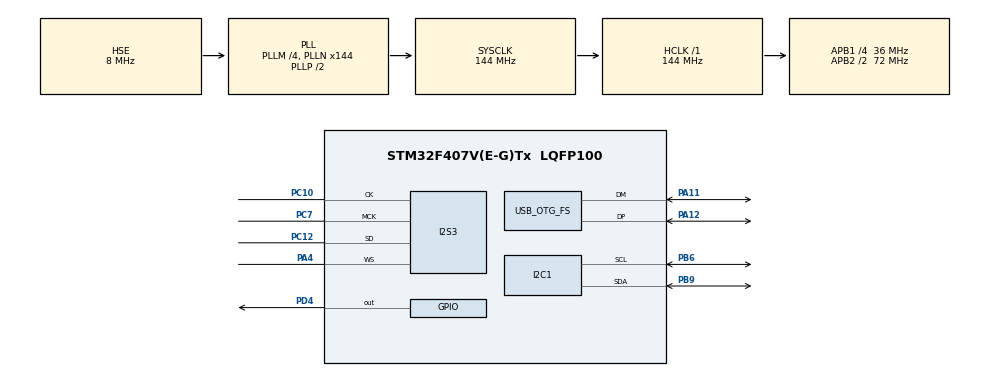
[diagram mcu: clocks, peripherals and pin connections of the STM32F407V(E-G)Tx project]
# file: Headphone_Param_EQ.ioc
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Dma.Request0=SPI3_TX
Dma.SPI3_TX.0.Direction=DMA_MEMORY_TO_PERIPH
Dma.SPI3_TX.0.FIFOMode=DMA_FIFOMODE_ENABLE
Dma.SPI3_TX.0.FIFOThreshold=DMA_FIFO_THRESHOLD_FULL
Dma.SPI3_TX.0.Instance=DMA1_Stream5
Dma.SPI3_TX.0.MemBurst=DMA_MBURST_SINGLE
Dma.SPI3_TX.0.MemDataAlignment=DMA_MDATAALIGN_HALFWORD
Dma.SPI3_TX.0.MemInc=DMA_MINC_ENABLE
Dma.SPI3_TX.0.Mode=DMA_CIRCULAR
Dma.SPI3_TX.0.PeriphBurst=DMA_PBURST_SINGLE
Dma.SPI3_TX.0.PeriphDataAlignment=DMA_PDATAALIGN_HALFWORD
Dma.SPI3_TX.0.PeriphInc=DMA_PINC_DISABLE
Dma.SPI3_TX.0.Priority=DMA_PRIORITY_LOW
I2S3.AudioFreq=I2S_AUDIOFREQ_48K
I2S3.ErrorAudioFreq=-0.01 %
I2S3.FullDuplexMode=I2S_FULLDUPLEXMODE_DISABLE
I2S3.Instance=SPI$Index
I2S3.RealAudioFreq=47.991 KHz
I2S3.Standard=I2S_STANDARD_PHILIPS
I2S3.VirtualMode=I2S_MODE_MASTER
Mcu.Family=STM32F4
Mcu.Name=STM32F407V(E-G)Tx
Mcu.Package=LQFP100
NVIC.DMA1_Stream5_IRQn=true\:0\:0\:false\:false\:true\:false\:true\:true
NVIC.OTG_FS_IRQn=true\:0\:0\:false\:false\:true\:false\:true\:true
NVIC.PriorityGroup=NVIC_PRIORITYGROUP_4
NVIC.SPI3_IRQn=true\:0\:0\:false\:false\:true\:true\:true\:true
PA11.Mode=Device_Only
PA11.Signal=USB_OTG_FS_DM
PA12.Mode=Device_Only
PA12.Signal=USB_OTG_FS_DP
PA4.Mode=Half_Duplex_Master
PA4.Signal=I2S3_WS
PB6.Mode=I2C
PB6.Signal=I2C1_SCL
PB9.Mode=I2C
PB9.Signal=I2C1_SDA
PC10.Mode=Half_Duplex_Master
PC10.Signal=I2S3_CK
PC12.Mode=Half_Duplex_Master
PC12.Signal=I2S3_SD
PC7.Mode=Master_Clock_Activated
PC7.Signal=I2S3_MCK
PD4.Signal=GPIO_Output
PH0-OSC_IN.Mode=HSE-External-Oscillator
PH0-OSC_IN.Signal=RCC_OSC_IN
PH1-OSC_OUT.Mode=HSE-External-Oscillator
PH1-OSC_OUT.Signal=RCC_OSC_OUT
ProjectManager.HeapSize=0x200
ProjectManager.StackSize=0x400
ProjectManager.TargetToolchain=STM32CubeIDE
RCC.48MHZClocksFreq_Value=48000000
RCC.AHBFreq_Value=144000000
RCC.APB1CLKDivider=RCC_HCLK_DIV4
RCC.APB1Freq_Value=36000000
RCC.APB1TimFreq_Value=72000000
RCC.APB2CLKDivider=RCC_HCLK_DIV2
RCC.APB2Freq_Value=72000000
RCC.APB2TimFreq_Value=144000000
RCC.CortexFreq_Value=144000000
RCC.HCLKFreq_Value=144000000
RCC.HSE_VALUE=8000000
RCC.HSI_VALUE=16000000
RCC.LSE_VALUE=32768
RCC.PLLI2SN=129
RCC.PLLI2SR=3
RCC.PLLM=4
RCC.PLLN=144
RCC.PLLQ=6
RCC.SYSCLKFreq_VALUE=144000000
RCC.SYSCLKSource=RCC_SYSCLKSOURCE_PLLCLK
RCC.VCOOutputFreq_Value=288000000
TIM4.Period=1999
USB_DEVICE.CLASS_NAME_FS=AUDIO
USB_DEVICE.USBD_AUDIO_FREQ-AUDIO_FS=48000
USB_DEVICE.VirtualMode-AUDIO_FS=Audio
USB_DEVICE.VirtualModeFS=Audio_FS
USB_OTG_FS.VirtualMode=Device_Only
VP_TIM4_VS_ClockSourceINT.Mode=Internal
VP_USB_DEVICE_VS_USB_DEVICE_AUDIO_FS.Mode=AUDIO_FS
board=custom

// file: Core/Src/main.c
/* USER CODE BEGIN Header */
/**
  ******************************************************************************
  * @file           : main.c
  * @brief          : Main program body
  ******************************************************************************
  * @attention
  *
  * Copyright (c) 2026 STMicroelectronics.
  * All rights reserved.
  *
  * This software is licensed under terms that can be found in the LICENSE file
  * in the root directory of this software component.
  * If no LICENSE file comes with this software, it is provided AS-IS.
  *
  ******************************************************************************
  */
/* USER CODE END Header */
#include "main.h"
#include "usb_device.h"

/* USER CODE BEGIN Includes */
#include "cs43l22.h"
#include "usbd_audio_if.h"
#include <math.h>

/* USER CODE END Includes */

I2C_HandleTypeDef hi2c1;

I2S_HandleTypeDef hi2s3;
DMA_HandleTypeDef hdma_spi3_tx;

TIM_HandleTypeDef htim4;

/* USER CODE BEGIN PV */
#define CODEC_ADDR      0x94      /* CS43L22 8-bit I2C address */
#define FRAMES          384       /* 8 cycles of 1 kHz at 48 kHz */
static int16_t audioBuf[FRAMES * 2] __attribute__((aligned(4)));  /* L,R interleaved */

/* USER CODE END PV */

void SystemClock_Config(void);
static void MX_GPIO_Init(void);
static void MX_DMA_Init(void);
static void MX_I2S3_Init(void);
static void MX_I2C1_Init(void);
static void MX_TIM4_Init(void);

int main(void)
{

  /* MCU Configuration--------------------------------------------------------*/

  /* Reset of all peripherals, Initializes the Flash interface and the Systick. */
  HAL_Init();

  /* Configure the system clock */
  SystemClock_Config();

  /* Initialize all configured peripherals */
  MX_GPIO_Init();
  MX_DMA_Init();
  MX_I2S3_Init();
  MX_I2C1_Init();
  MX_TIM4_Init();
  MX_USB_DEVICE_Init();

  /* USER CODE BEGIN 2 */
  for (int i = 0; i < FRAMES; i++) {
      int16_t s = (int16_t)(8000.0f * sinf(2.0f * 3.14159265f * i / 48.0f));
      audioBuf[2*i]     = s;   /* left */
      audioBuf[2*i + 1] = s;   /* right */
  }

  uint32_t id = cs43l22_ReadID(CODEC_ADDR);     /* expect 0xE0 */
  cs43l22_Init(CODEC_ADDR, OUTPUT_DEVICE_HEADPHONE, 60, 48000);
  cs43l22_Play(CODEC_ADDR, NULL, 0);

  /* USER CODE END 2 */

  /* Infinite loop */
  while (1)
  {

  }
}

void SystemClock_Config(void)
{
  RCC_OscInitTypeDef RCC_OscInitStruct = {0};
  RCC_ClkInitTypeDef RCC_ClkInitStruct = {0};

  /** Configure the main internal regulator output voltage
  */
  __HAL_RCC_PWR_CLK_ENABLE();
  __HAL_PWR_VOLTAGESCALING_CONFIG(PWR_REGULATOR_VOLTAGE_SCALE1);

  /** Initializes the RCC Oscillators according to the specified parameters
  * in the RCC_OscInitTypeDef structure.
  */
  RCC_OscInitStruct.OscillatorType = RCC_OSCILLATORTYPE_HSE;
  RCC_OscInitStruct.HSEState = RCC_HSE_ON;
  RCC_OscInitStruct.PLL.PLLState = RCC_PLL_ON;
  RCC_OscInitStruct.PLL.PLLSource = RCC_PLLSOURCE_HSE;
  RCC_OscInitStruct.PLL.PLLM = 4;
  RCC_OscInitStruct.PLL.PLLN = 144;
  RCC_OscInitStruct.PLL.PLLP = RCC_PLLP_DIV2;
  RCC_OscInitStruct.PLL.PLLQ = 6;
  if (HAL_RCC_OscConfig(&RCC_OscInitStruct) != HAL_OK)
  {
    Error_Handler();
  }

  /** Initializes the CPU, AHB and APB buses clocks
  */
  RCC_ClkInitStruct.ClockType = RCC_CLOCKTYPE_HCLK|RCC_CLOCKTYPE_SYSCLK
                              |RCC_CLOCKTYPE_PCLK1|RCC_CLOCKTYPE_PCLK2;
  RCC_ClkInitStruct.SYSCLKSource = RCC_SYSCLKSOURCE_PLLCLK;
  RCC_ClkInitStruct.AHBCLKDivider = RCC_SYSCLK_DIV1;
  RCC_ClkInitStruct.APB1CLKDivider = RCC_HCLK_DIV4;
  RCC_ClkInitStruct.APB2CLKDivider = RCC_HCLK_DIV2;

  if (HAL_RCC_ClockConfig(&RCC_ClkInitStruct, FLASH_LATENCY_4) != HAL_OK)
  {
    Error_Handler();
  }
}

static void MX_I2C1_Init(void)
{

  hi2c1.Instance = I2C1;
  hi2c1.Init.ClockSpeed = 100000;
  hi2c1.Init.DutyCycle = I2C_DUTYCYCLE_2;
  hi2c1.Init.OwnAddress1 = 0;
  hi2c1.Init.AddressingMode = I2C_ADDRESSINGMODE_7BIT;
  hi2c1.Init.DualAddressMode = I2C_DUALADDRESS_DISABLE;
  hi2c1.Init.OwnAddress2 = 0;
  hi2c1.Init.GeneralCallMode = I2C_GENERALCALL_DISABLE;
  hi2c1.Init.NoStretchMode = I2C_NOSTRETCH_DISABLE;
  if (HAL_I2C_Init(&hi2c1) != HAL_OK)
  {
    Error_Handler();
  }

}

static void MX_I2S3_Init(void)
{

  hi2s3.Instance = SPI3;
  hi2s3.Init.Mode = I2S_MODE_MASTER_TX;
  hi2s3.Init.Standard = I2S_STANDARD_PHILIPS;
  hi2s3.Init.DataFormat = I2S_DATAFORMAT_16B;
  hi2s3.Init.MCLKOutput = I2S_MCLKOUTPUT_ENABLE;
  hi2s3.Init.AudioFreq = I2S_AUDIOFREQ_48K;
  hi2s3.Init.CPOL = I2S_CPOL_LOW;
  hi2s3.Init.ClockSource = I2S_CLOCK_PLL;
  hi2s3.Init.FullDuplexMode = I2S_FULLDUPLEXMODE_DISABLE;
  if (HAL_I2S_Init(&hi2s3) != HAL_OK)
  {
    Error_Handler();
  }

}

static void MX_TIM4_Init(void)
{

  TIM_ClockConfigTypeDef sClockSourceConfig = {0};
  TIM_MasterConfigTypeDef sMasterConfig = {0};

  htim4.Instance = TIM4;
  htim4.Init.Prescaler = 0;
  htim4.Init.CounterMode = TIM_COUNTERMODE_UP;
  htim4.Init.Period = 1999;
  htim4.Init.ClockDivision = TIM_CLOCKDIVISION_DIV1;
  htim4.Init.AutoReloadPreload = TIM_AUTORELOAD_PRELOAD_DISABLE;
  if (HAL_TIM_Base_Init(&htim4) != HAL_OK)
  {
    Error_Handler();
  }
  sClockSourceConfig.ClockSource = TIM_CLOCKSOURCE_INTERNAL;
  if (HAL_TIM_ConfigClockSource(&htim4, &sClockSourceConfig) != HAL_OK)
  {
    Error_Handler();
  }
  sMasterConfig.MasterOutputTrigger = TIM_TRGO_RESET;
  sMasterConfig.MasterSlaveMode = TIM_MASTERSLAVEMODE_DISABLE;
  if (HAL_TIMEx_MasterConfigSynchronization(&htim4, &sMasterConfig) != HAL_OK)
  {
    Error_Handler();
  }

}

static void MX_DMA_Init(void)
{

  /* DMA controller clock enable */
  __HAL_RCC_DMA1_CLK_ENABLE();

  /* DMA interrupt init */
  /* DMA1_Stream5_IRQn interrupt configuration */
  HAL_NVIC_SetPriority(DMA1_Stream5_IRQn, 0, 0);
  HAL_NVIC_EnableIRQ(DMA1_Stream5_IRQn);

}

static void MX_GPIO_Init(void)
{
  GPIO_InitTypeDef GPIO_InitStruct = {0};

  /* GPIO Ports Clock Enable */
  __HAL_RCC_GPIOH_CLK_ENABLE();
  __HAL_RCC_GPIOA_CLK_ENABLE();
  __HAL_RCC_GPIOC_CLK_ENABLE();
  __HAL_RCC_GPIOD_CLK_ENABLE();
  __HAL_RCC_GPIOB_CLK_ENABLE();

  /*Configure GPIO pin Output Level */
  HAL_GPIO_WritePin(GPIOD, GPIO_PIN_4, GPIO_PIN_RESET);

  /*Configure GPIO pin : PD4 */
  GPIO_InitStruct.Pin = GPIO_PIN_4;
  GPIO_InitStruct.Mode = GPIO_MODE_OUTPUT_PP;
  GPIO_InitStruct.Pull = GPIO_NOPULL;
  GPIO_InitStruct.Speed = GPIO_SPEED_FREQ_LOW;
  HAL_GPIO_Init(GPIOD, &GPIO_InitStruct);

}

/* USER CODE BEGIN 4 */
void AUDIO_IO_Init(void)
{
    HAL_GPIO_WritePin(GPIOD, GPIO_PIN_4, GPIO_PIN_SET);   /* release codec reset */
    HAL_Delay(5);
}
void AUDIO_IO_DeInit(void) {}

void AUDIO_IO_Write(uint8_t Addr, uint8_t Reg, uint8_t Value)
{
    HAL_I2C_Mem_Write(&hi2c1, Addr, Reg, I2C_MEMADD_SIZE_8BIT, &Value, 1, 1000);
}
uint8_t AUDIO_IO_Read(uint8_t Addr, uint8_t Reg)
{
    uint8_t v = 0;
    HAL_I2C_Mem_Read(&hi2c1, Addr, Reg, I2C_MEMADD_SIZE_8BIT, &v, 1, 1000);
    return v;
}

void HAL_I2S_TxHalfCpltCallback(I2S_HandleTypeDef *hi2s)
{
    if (hi2s->Instance == SPI3) HalfTransfer_CallBack_FS();
}
void HAL_I2S_TxCpltCallback(I2S_HandleTypeDef *hi2s)
{
    if (hi2s->Instance == SPI3) TransferComplete_CallBack_FS();
}

/* USER CODE END 4 */

void Error_Handler(void)
{
  __disable_irq();
  while (1)
  {
  }
}
